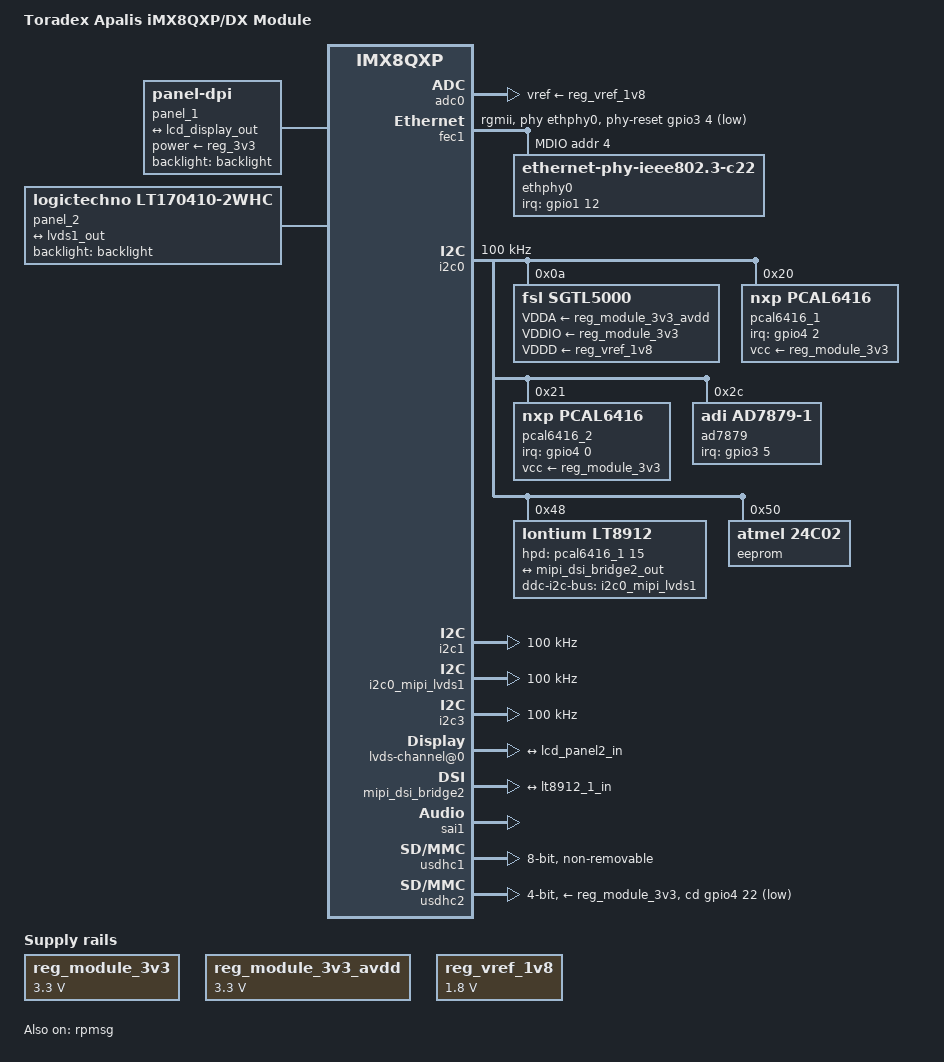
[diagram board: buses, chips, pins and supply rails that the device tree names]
// SPDX-License-Identifier: GPL-2.0+ OR X11
/*
 * Copyright 2018-2019 Toradex
 */

#include <dt-bindings/gpio/gpio.h>
#include "dt-bindings/pwm/pwm.h"
#include "fsl-imx8qxp.dtsi"

/ {
	model = "Toradex Apalis iMX8QXP/DX Module";
	compatible = "toradex,apalis-imx8x", "fsl,imx8qxp";

	backlight: backlight {
		compatible = "pwm-backlight";
		pinctrl-names = "default";
		pinctrl-0 = <&pinctrl_gpio_bkl_on>;
		enable-gpios = <&gpio3 13 GPIO_ACTIVE_HIGH>;
		status = "disabled";
	};

	chosen {
		stdout-path = &lpuart1;
	};

	panel_1: panel-1 {
		/*
		 * edt,et057090dhu: EDT 5.7" LCD TFT
		 * edt,et070080dh6: EDT 7.0" LCD TFT
		 * logictechno,lt161010-2nhc: Cap. Touch Display 7" Parallel
		 * logictechno,lt161010-2nhr: Res. Touch Display 7" Parallel
		 * logictechno,lt170410-2whc: Cap. Touch Display 10.1" LVDS
		 * tpk,f07a-0102: Capacitive Multi-Touch Display Fusion 7"
		 * tpk,f10a-0102: Capacitive Multi-Touch Display Fusion 10"
		 */
		compatible = "panel-dpi";
		backlight = <&backlight>;
		power-supply = <&reg_3v3>;

		width-mm = <217>;
		height-mm = <136>;

		data-mapping = "bgr666";

		panel-timing {
			/* Default VESA VGA display timings */
			clock-frequency = <25175000>;
			hactive = <640>;
			hback-porch = <48>;
			hfront-porch = <16>;
			hsync-len = <96>;
			vactive = <480>;
			vback-porch = <31>;
			vfront-porch = <11>;
			vsync-len = <2>;
			pixelclk-active = <0>;
		};

		port {
			lcd_panel1_in: endpoint {
				remote-endpoint = <&lcd_display_out>;
			};
		};
	};

	panel_2: panel-2 {
		compatible = "logictechno,lt170410-2whc";
		backlight = <&backlight>;

		port {
			lcd_panel2_in: endpoint {
				remote-endpoint = <&lvds1_out>;
			};
		};
	};

	reg_module_3v3: regulator-module-3v3 {
		compatible = "regulator-fixed";
		regulator-name = "+V3.3";
		regulator-min-microvolt = <3300000>;
		regulator-max-microvolt = <3300000>;
	};

	reg_module_3v3_avdd: regulator-module-3v3-avdd {
		compatible = "regulator-fixed";
		regulator-name = "+V3.3_AVDD_AUDIO";
		regulator-min-microvolt = <3300000>;
		regulator-max-microvolt = <3300000>;
	};

	reg_vref_1v8: regulator-vref-1v8 {
		compatible = "regulator-fixed";
		regulator-name = "vref-1v8";
		regulator-min-microvolt = <1800000>;
		regulator-max-microvolt = <1800000>;
	};

	/* TBD SPDIF, HDMI audio */

	sound {
		compatible = "simple-audio-card";
		simple-audio-card,name = "imx8qxp-sgtl5000";
		simple-audio-card,format = "i2s";
		simple-audio-card,bitclock-master = <&dailink_master>;
		simple-audio-card,frame-master = <&dailink_master>;

		simple-audio-card,cpu {
			sound-dai = <&sai1>;
		};

		dailink_master: simple-audio-card,codec {
			sound-dai = <&sgtl5000>;
			clocks = <&clk IMX8QXP_AUD_MCLKOUT0>;
		};
	};
};

/* Apalis AN1_ADC */
&adc0 {
	pinctrl-names = "default";
	pinctrl-0 = <&pinctrl_adc0>;
	vref-supply = <&reg_vref_1v8>;
};

/* Apalis Parallel RGB */
&adma_lcdif {
	pinctrl-names = "default";
	pinctrl-0 = <&pinctrl_lcdif>;
	bus-width = <18>;
	status = "disabled";

	port@0 {
		lcd_display_out: lcdif-endpoint {
			remote-endpoint = <&lcd_panel1_in>;
		};
	};
};

/* Apalis Gigabit Ethernet */
&fec1 {
	pinctrl-names = "default";
	pinctrl-0 = <&pinctrl_fec1>;
	fsl,magic-packet;
	fsl,rgmii_rxc_dly;
	fsl,rgmii_txc_dly;
	phy-handle = <&ethphy0>;
	phy-mode = "rgmii";
	phy-reset-duration = <10>;
	phy-reset-post-delay = <200>;
	phy-reset-gpios = <&gpio3 4 GPIO_ACTIVE_LOW>;

	mdio {
		#address-cells = <1>;
		#size-cells = <0>;

		ethphy0: ethernet-phy@4 {
			compatible = "ethernet-phy-ieee802.3-c22";
			interrupt-parent = <&gpio1>;
			interrupts = <12 IRQ_TYPE_LEVEL_LOW>;
			reg = <4>;
			micrel,led-mode = <0>;
		};
	};
};

/* Apalis CAN1 */
&flexcan1 {
	/* define the following property to disable CAN-FD mode */
	/* disable-fd-mode; */
	pinctrl-names = "default";
	pinctrl-0 = <&pinctrl_flexcan1>;
};

/* Apalis CAN2 */
&flexcan2 {
	/* define the following property to disable CAN-FD mode */
	/* disable-fd-mode; */
	pinctrl-names = "default";
	pinctrl-0 = <&pinctrl_flexcan2>;
};

/* On-module I2C */
&i2c0 {
	#address-cells = <1>;
	#size-cells = <0>;
	pinctrl-names = "default";
	pinctrl-0 = <&pinctrl_lpi2c0>;
	clock-frequency = <100000>;
	status = "okay";

	/* SGTL5000 Audio Codec */
	sgtl5000: codec@a {
		compatible = "fsl,sgtl5000";
		#sound-dai-cells = <0>;
		pinctrl-names = "default";
		pinctrl-0 = <&pinctrl_sgtl5000>;
		reg = <0x0a>;
		clocks = <&clk IMX8QXP_AUD_MCLKOUT0>;
		assigned-clocks = <&clk IMX8QXP_AUD_PLL0_DIV>,
				  <&clk IMX8QXP_AUD_ACM_AUD_PLL_CLK0_DIV>,
				  <&clk IMX8QXP_AUD_ACM_AUD_REC_CLK0_DIV>,
				  <&clk IMX8QXP_AUD_MCLKOUT0>;
		assigned-clock-rates = <786432000>, <49152000>,
					<12000000>, <12000000>;
		power-domains = <&pd_mclk_out0>;
		VDDA-supply = <&reg_module_3v3_avdd>;
		VDDIO-supply = <&reg_module_3v3>;
		VDDD-supply = <&reg_vref_1v8>;
	};

	/* PCAL6416A GPIO Expander */
	pcal6416_1: gpio@20 {
		compatible = "nxp,pcal6416";
		pinctrl-names = "default";
		pinctrl-0 = <&pinctrl_i2c_exp1_int>;
		reg = <0x20>;
		gpio-controller;
		#gpio-cells = <2>;
		interrupt-parent = <&gpio4>;
		interrupts = <2 IRQ_TYPE_LEVEL_LOW>;
		vcc-supply = <&reg_module_3v3>;
	};

	/* PCAL6416A GPIO Expander */
	pcal6416_2: gpio@21 {
		compatible = "nxp,pcal6416";
		pinctrl-names = "default";
		pinctrl-0 = <&pinctrl_i2c_exp2_int>;
		reg = <0x21>;
		gpio-controller;
		#gpio-cells = <2>;
		interrupt-parent = <&gpio4>;
		interrupts = <0 IRQ_TYPE_LEVEL_LOW>;
		vcc-supply = <&reg_module_3v3>;
	};

	/* Touch controller */
	ad7879@2c {
		compatible = "adi,ad7879-1";
		pinctrl-names = "default";
		pinctrl-0 = <&pinctrl_ad7879_int>;
		reg = <0x2c>;
		interrupt-parent = <&gpio3>;
		interrupts = <5 IRQ_TYPE_EDGE_FALLING>;
		touchscreen-max-pressure = <4096>;
		adi,resistance-plate-x = <120>;
		adi,first-conversion-delay = /bits/ 8 <3>;
		adi,acquisition-time = /bits/ 8 <1>;
		adi,median-filter-size = /bits/ 8 <2>;
		adi,averaging = /bits/ 8 <1>;
		adi,conversion-interval = /bits/ 8 <255>;
	};

	/* LT8912B DSI to HDMI converter */
	lt8912@48 {
		compatible = "lontium,lt8912";
		ddc-i2c-bus = <&i2c0_mipi_lvds1>;
		hpd-gpios = <&pcal6416_1 15 GPIO_ACTIVE_HIGH>;
		reg = <0x48>;

		port {
			lt8912_1_in: endpoint {
				remote-endpoint = <&mipi_dsi_bridge2_out>;
			};
		};
	};

	/* On-Module EEPROM */
	eeprom: eeprom@50 {
		compatible = "atmel,24c02";
		reg = <0x50>;
		pagesize = <16>;
	};
};

/* Apalis I2C1 */
&i2c1 {
	#address-cells = <1>;
	#size-cells = <0>;
	pinctrl-names = "default";
	pinctrl-0 = <&pinctrl_lpi2c1>;
	clock-frequency = <100000>;

	/* Atmel maxtouch controller */
	atmel_mxt_ts: atmel_mxt_ts@4a {
		compatible = "atmel,maxtouch";
		pinctrl-names = "default";
		pinctrl-0 = <&pinctrl_touch>;
		reg = <0x4a>;
		interrupt-parent = <&gpio3>;
		interrupts = <17 IRQ_TYPE_EDGE_FALLING>;    /* Apalis GPIO5 */
		reset-gpios = <&gpio3 18 GPIO_ACTIVE_HIGH>; /* Apalis GPIO6 */
                status = "disabled";
        };
};

/* Apalis I2C2 (DDC) */
&i2c0_mipi_lvds1 {
	#address-cells = <1>;
	#size-cells = <0>;
	pinctrl-names = "default";
	pinctrl-0 = <&pinctrl_i2c0_mipi_lvds1>;
	clock-frequency = <100000>;
};

/* Apalis I2C3 (CAM) */
&i2c3 {
	#address-cells = <1>;
	#size-cells = <0>;
	pinctrl-names = "default";
	pinctrl-0 = <&pinctrl_lpi2c3>;
	clock-frequency = <100000>;
};

&iomuxc {
	pinctrl-names = "default";
	pinctrl-0 = <&pinctrl_gpio34>, <&pinctrl_gpio7>, <&pinctrl_usbo1oc>,
		    <&pinctrl_gpio8>, <&pinctrl_qspi0a_gpios>,
		    <&pinctrl_sata1_act>, <&pinctrl_reset_moci>,
		    <&pinctrl_mmc1_gpios>, <&pinctrl_dap1_gpios>,
		    <&pinctrl_parallel_csi>;

	apalis-imx8qxp {
		/* Apalis AN1_ADC */
		pinctrl_adc0: adc0grp {
			fsl,pins = <
				/* Apalis AN1_ADC0 */
				SC_P_ADC_IN0_ADMA_ADC_IN0			0x60		/* MXM3 305 */
				/* Apalis AN1_ADC1 */
				SC_P_ADC_IN1_ADMA_ADC_IN1			0x60		/* MXM3 307 */
				/* Apalis AN1_ADC2 */
				SC_P_ADC_IN2_ADMA_ADC_IN2			0x60		/* MXM3 309 */
				/* Apalis AN1_TSWIP_ADC3 */
				SC_P_ADC_IN3_ADMA_ADC_IN3			0x60		/* MXM3 311 */
			>;
		};

		/* Apalis BKL1_ON */
		pinctrl_gpio_bkl_on: gpio-bkl-on {
			fsl,pins = <
				SC_P_QSPI0A_DQS_LSIO_GPIO3_IO13			0x21		/* MXM3 286 */
			>;
		};

		/* Apalis BKL1_PWM */
		pinctrl_pwm_mipi_lvds1: pwmmipilvds1grp {
			fsl,pins = <
				SC_P_MIPI_DSI1_GPIO0_00_MIPI_DSI1_PWM0_OUT	0x60		/* MXM3 239 */
			>;
		};

		/* Apalis CAN1 */
		pinctrl_flexcan1: flexcan0grp {
			fsl,pins = <
				SC_P_FLEXCAN1_TX_ADMA_FLEXCAN1_TX		0x21		/* MXM3 14 */
				SC_P_FLEXCAN1_RX_ADMA_FLEXCAN1_RX		0x21		/* MXM3 12 */
			>;
		};

		/* Apalis CAN2 */
		pinctrl_flexcan2: flexcan1grp {
			fsl,pins = <
				SC_P_FLEXCAN2_TX_ADMA_FLEXCAN2_TX		0x21		/* MXM3 18 */
				SC_P_FLEXCAN2_RX_ADMA_FLEXCAN2_RX		0x21		/* MXM3 16 */
			>;
		};

		/* Apalis DAP1 */
		pinctrl_dap1_gpios: dap1gpiosgrp {
			fsl,pins = <
				/* Apalis DAP1_D_OUT */
				SC_P_SAI0_TXD_LSIO_GPIO0_IO25			0x21		/* MXM3 196 */
				/* Apalis DAP1_RESET */
				SC_P_QSPI0A_SS1_B_LSIO_GPIO3_IO15		0x21		/* MXM3 198 */
				/* Apalis DAP1_BIT_CLK */
				SC_P_SAI0_TXC_LSIO_GPIO0_IO26			0x21		/* MXM3 200 */
				/* Apalis DAP1_D_IN */
				SC_P_SAI0_RXD_LSIO_GPIO0_IO27			0x21		/* MXM3 202 */
				/* Apalis DAP1_SYNC */
				SC_P_SAI0_TXFS_LSIO_GPIO0_IO28			0x21		/* MXM3 204 */
			>;
		};

		/* Apalis GPIO1+2 */
		pinctrl_gpio12: gpio12grp {
			fsl,pins = <
				/* Apalis GPIO 1 */
				SC_P_QSPI0B_DATA3_LSIO_GPIO3_IO21		0x21		/* MXM3 1 */
				/* Apalis GPIO 2 */
				SC_P_QSPI0B_DQS_LSIO_GPIO3_IO22			0x21		/* MXM3 3 */
			>;
		};

		/* Apalis GPIO3+4 */
		pinctrl_gpio34: gpio34grp {
			fsl,pins = <
				/* Apalis GPIO 3 */
				SC_P_QSPI0B_SS0_B_LSIO_GPIO3_IO23		0x21		/* MXM3 5 */
				/* Apalis GPIO 4 */
				SC_P_QSPI0B_SS1_B_LSIO_GPIO3_IO24		0x21		/* MXM3 7 */
			>;
		};

		/* Apalis GPIO5+6 */
		pinctrl_touch: touchgrp {
			fsl,pins = <
				/* Apalis GPIO 5 */
				SC_P_QSPI0B_SCLK_LSIO_GPIO3_IO17		0x21		/* MXM3 11 */
				/* Apalis GPIO 6 */
				SC_P_QSPI0B_DATA0_LSIO_GPIO3_IO18		0x21		/* MXM3 13 */
			>;
		};

		/* Apalis GPIO7 */
		pinctrl_gpio7: gpio7 {
			fsl,pins = <
				/* Apalis GPIO 7 */
				SC_P_QSPI0B_DATA1_LSIO_GPIO3_IO19		0x21		/* MXM3 15 */
			>;
		};

		/* Apalis GPIO8 */
		pinctrl_gpio8: gpio8 {
			fsl,pins = <
				/* Apalis GPIO 8 */
				SC_P_QSPI0B_DATA2_LSIO_GPIO3_IO20		0x21		/* MXM3 17 */
			>;
		};

		/* Apalis I2C1 */
		pinctrl_lpi2c1: lpi2c1grp {
			fsl,pins = <
				SC_P_USB_SS3_TC0_ADMA_I2C1_SCL			0x06000021	/* MXM3 211 */
				SC_P_USB_SS3_TC3_ADMA_I2C1_SDA			0x06000021	/* MXM3 209 */
			>;
		};

		/* Apalis I2C2 (DDC) */
		pinctrl_i2c0_mipi_lvds1: mipilvds1i2c0grp {
			fsl,pins = <
				SC_P_MIPI_DSI1_I2C0_SCL_MIPI_DSI1_I2C0_SCL	0xc6000020	/* MXM3 205 */
				SC_P_MIPI_DSI1_I2C0_SDA_MIPI_DSI1_I2C0_SDA	0xc6000020	/* MXM3 207 */
			>;
		};

		/* Apalis I2C3 (CAM) */
		pinctrl_lpi2c3: lpi2c3grp {
			fsl,pins = <
				SC_P_CSI_EN_ADMA_I2C3_SCL			0xc6000020	/* MXM3 203 */
				SC_P_CSI_RESET_ADMA_I2C3_SDA			0xc6000020	/* MXM3 201 */
			>;
		};

		/* Apalis MMC1_ */
		pinctrl_mmc1_gpios: mmc1gpiosgrp {
			fsl,pins = <
				SC_P_QSPI0A_DATA1_LSIO_GPIO3_IO10		0x21		/* MXM3 148 */
				SC_P_QSPI0A_SS0_B_LSIO_GPIO3_IO14		0x21		/* MXM3 158 */
				SC_P_USDHC1_WP_LSIO_GPIO4_IO21			0x21		/* MXM3 156 */
				SC_P_USDHC1_RESET_B_LSIO_GPIO4_IO19		0x21		/* MXM3 152 */
			>;
		};

		/* Apalis MMC1_CD# */
		pinctrl_usdhc2_gpio: mmc1gpiogrp {
			fsl,pins = <
				SC_P_USDHC1_CD_B_LSIO_GPIO4_IO22		0x06000021	/* MXM3 164 */
			>;
		};

		pinctrl_usdhc2_gpio_sleep: usdhc1gpioslpgrp {
			fsl,pins = <
				SC_P_USDHC1_CD_B_LSIO_GPIO4_IO22		0x60		/* MXM3 164 */
			>;
		};

		/* Apalis MMC1 */
		pinctrl_usdhc2: usdhc2grp {
			fsl,pins = <
				SC_P_USDHC1_CLK_CONN_USDHC1_CLK			0x06000041	/* MXM3 154 */
				SC_P_USDHC1_CMD_CONN_USDHC1_CMD			0x21		/* MXM3 150 */
				SC_P_USDHC1_DATA0_CONN_USDHC1_DATA0		0x21		/* MXM3 160 */
				SC_P_USDHC1_DATA1_CONN_USDHC1_DATA1		0x21		/* MXM3 162 */
				SC_P_USDHC1_DATA2_CONN_USDHC1_DATA2		0x21		/* MXM3 144 */
				SC_P_USDHC1_DATA3_CONN_USDHC1_DATA3		0x21		/* MXM3 146 */
				SC_P_USDHC1_VSELECT_CONN_USDHC1_VSELECT		0x21
			>;
		};

		pinctrl_usdhc2_100mhz: usdhc2grp100mhz {
			fsl,pins = <
				SC_P_USDHC1_CLK_CONN_USDHC1_CLK			0x06000041	/* MXM3 154 */
				SC_P_USDHC1_CMD_CONN_USDHC1_CMD			0x21		/* MXM3 150 */
				SC_P_USDHC1_DATA0_CONN_USDHC1_DATA0		0x21		/* MXM3 160 */
				SC_P_USDHC1_DATA1_CONN_USDHC1_DATA1		0x21		/* MXM3 162 */
				SC_P_USDHC1_DATA2_CONN_USDHC1_DATA2		0x21		/* MXM3 144 */
				SC_P_USDHC1_DATA3_CONN_USDHC1_DATA3		0x21		/* MXM3 146 */
				SC_P_USDHC1_VSELECT_CONN_USDHC1_VSELECT		0x21
			>;
		};

		pinctrl_usdhc2_200mhz: usdhc2grp200mhz {
			fsl,pins = <
				SC_P_USDHC1_CLK_CONN_USDHC1_CLK			0x06000041	/* MXM3 154 */
				SC_P_USDHC1_CMD_CONN_USDHC1_CMD			0x21		/* MXM3 150 */
				SC_P_USDHC1_DATA0_CONN_USDHC1_DATA0		0x21		/* MXM3 160 */
				SC_P_USDHC1_DATA1_CONN_USDHC1_DATA1		0x21		/* MXM3 162 */
				SC_P_USDHC1_DATA2_CONN_USDHC1_DATA2		0x21		/* MXM3 144 */
				SC_P_USDHC1_DATA3_CONN_USDHC1_DATA3		0x21		/* MXM3 146 */
				SC_P_USDHC1_VSELECT_CONN_USDHC1_VSELECT		0x21
			>;
		};

		pinctrl_usdhc2_sleep: usdhc2slpgrp {
			fsl,pins = <
				SC_P_USDHC1_CLK_LSIO_GPIO4_IO23			0x60		/* MXM3 154 */
				SC_P_USDHC1_CMD_LSIO_GPIO4_IO24			0x60		/* MXM3 150 */
				SC_P_USDHC1_DATA0_LSIO_GPIO4_IO25		0x60		/* MXM3 160 */
				SC_P_USDHC1_DATA1_LSIO_GPIO4_IO26		0x60		/* MXM3 162 */
				SC_P_USDHC1_DATA2_LSIO_GPIO4_IO27		0x60		/* MXM3 144 */
				SC_P_USDHC1_DATA3_LSIO_GPIO4_IO28		0x60		/* MXM3 146 */
				SC_P_USDHC1_VSELECT_CONN_USDHC1_VSELECT		0x21
			>;
		};

		/* Apalis Parallel Camera */
		pinctrl_parallel_csi: parallelcsigrp {
			fsl,pins = <
				SC_P_CSI_D00_CI_PI_D02				0xC0000041	/* MXM3 187 */
				SC_P_CSI_D01_CI_PI_D03				0xC0000041	/* MXM3 185 */
				SC_P_CSI_D02_CI_PI_D04				0xC0000041	/* MXM3 183 */
				SC_P_CSI_D03_CI_PI_D05				0xC0000041	/* MXM3 181 */
				SC_P_CSI_D04_CI_PI_D06				0xC0000041	/* MXM3 179 */
				SC_P_CSI_D05_CI_PI_D07				0xC0000041	/* MXM3 177 */
				SC_P_CSI_D06_CI_PI_D08				0xC0000041	/* MXM3 175 */
				SC_P_CSI_D07_CI_PI_D09				0xC0000041	/* MXM3 173 */
				SC_P_CSI_MCLK_CI_PI_MCLK			0xC0000041	/* MXM3 193 */
				SC_P_CSI_PCLK_CI_PI_PCLK			0xC0000041	/* MXM3 191 */
				SC_P_CSI_HSYNC_CI_PI_HSYNC			0xC0000041	/* MXM3 197 */
				SC_P_CSI_VSYNC_CI_PI_VSYNC			0xC0000041	/* MXM3 195 */
			>;
		};

		/* Apalis Parallel RGB LCD Interface */
		pinctrl_hog0: hog0grp {
			fsl,pins = <
				SC_P_COMP_CTL_GPIO_1V8_3V3_GPIORHB_PAD		0x000514a0 /* Use pads in 3.3V mode */
			>;
		};

		pinctrl_lcdif: lcdif-pins {
			fsl,pins = <
				SC_P_MCLK_OUT0_ADMA_LCDIF_CLK			0x60		/* MXM3 243 */
				SC_P_MCLK_IN0_ADMA_LCDIF_VSYNC			0x60		/* MXM3 245 */
				SC_P_SPI3_CS0_ADMA_LCDIF_HSYNC			0x60		/* MXM3 247 */
				SC_P_MCLK_IN1_ADMA_LCDIF_EN			0x60		/* MXM3 249 */
				SC_P_SPDIF0_EXT_CLK_ADMA_LCDIF_D12		0x60		/* MXM3 255 */
				SC_P_SPI3_SCK_ADMA_LCDIF_D13			0x60		/* MXM3 257 */
				SC_P_SPI3_SDO_ADMA_LCDIF_D14			0x60		/* MXM3 259 */
				SC_P_SPI3_SDI_ADMA_LCDIF_D15			0x60		/* MXM3 261 */
				SC_P_SPI3_CS1_ADMA_LCDIF_D16			0x60		/* MXM3 263 */
				SC_P_UART1_CTS_B_ADMA_LCDIF_D17			0x60		/* MXM3 265 */
				SC_P_ESAI0_TX2_RX3_ADMA_LCDIF_D06		0x60		/* MXM3 273 */
				SC_P_ESAI0_TX3_RX2_ADMA_LCDIF_D07		0x60		/* MXM3 275 */
				SC_P_ESAI0_TX4_RX1_ADMA_LCDIF_D08		0x60		/* MXM3 277 */
				SC_P_ESAI0_TX5_RX0_ADMA_LCDIF_D09		0x60		/* MXM3 279 */
				SC_P_SPDIF0_RX_ADMA_LCDIF_D10			0x60		/* MXM3 281 */
				SC_P_SPDIF0_TX_ADMA_LCDIF_D11			0x60		/* MXM3 283 */
				SC_P_ESAI0_FSR_ADMA_LCDIF_D00			0x60		/* MXM3 291 */
				SC_P_ESAI0_FST_ADMA_LCDIF_D01			0x60		/* MXM3 293 */
				SC_P_ESAI0_SCKR_ADMA_LCDIF_D02			0x60		/* MXM3 295 */
				SC_P_ESAI0_SCKT_ADMA_LCDIF_D03			0x60		/* MXM3 297 */
				SC_P_ESAI0_TX0_ADMA_LCDIF_D04			0x60		/* MXM3 299 */
				SC_P_ESAI0_TX1_ADMA_LCDIF_D05			0x60		/* MXM3 301 */
			>;
		};

		/* Apalis PWM1 */
		pinctrl_pwm2: pwm2grp {
			fsl,pins = <
				SC_P_UART1_RTS_B_LSIO_PWM2_OUT			0x60		/* MXM3 2 */
			>;
		};

		/* Apalis PWM2 */
		pinctrl_pwm_mipi_lvds0: pwmmipilvds0grp {
			fsl,pins = <
				SC_P_MIPI_DSI0_GPIO0_00_MIPI_DSI0_PWM0_OUT	0x60		/* MXM3 4 */
			>;
		};

		/* Apalis PWM_ */
		pinctrl_pwm_gpios: gpiospwmgrp {
			fsl,pins = <
				SC_P_MIPI_DSI0_GPIO0_01_LSIO_GPIO1_IO28		0x21		/* MXM3 6 */
				SC_P_MIPI_DSI1_GPIO0_01_LSIO_GPIO2_IO00		0x21		/* MXM3 8 */
			>;
		};

		/* Apalis SATA1_ACT# */
		pinctrl_sata1_act: sata1actgrp {
			fsl,pins = <
				SC_P_MIPI_DSI0_I2C0_SCL_LSIO_GPIO1_IO25		0x21		/* MXM3 35 */
			>;
		};

		/* Apalis SPI1 */
		pinctrl_lpspi0: lpspi0grp {
			fsl,pins = <
				SC_P_SPI0_CS0_LSIO_GPIO1_IO08			0x06000040	/* MXM3 227 */
				SC_P_SPI0_SDI_ADMA_SPI0_SDI			0x06000040	/* MXM3 223 */
				SC_P_SPI0_SDO_ADMA_SPI0_SDO			0x06000040	/* MXM3 225 */
				SC_P_SPI0_SCK_ADMA_SPI0_SCK			0x06000040	/* MXM3 221 */
			>;
		};

		/* Apalis SPI2 */
		pinctrl_lpspi2: lpspi2grp {
			fsl,pins = <
				SC_P_SPI2_CS0_LSIO_GPIO1_IO00			0x21		/* MXM3 233 */
				SC_P_SPI2_SDI_ADMA_SPI2_SDI			0x06000040	/* MXM3 229 */
				SC_P_SPI2_SDO_ADMA_SPI2_SDO			0x06000040	/* MXM3 231 */
				SC_P_SPI2_SCK_ADMA_SPI2_SCK			0x06000040	/* MXM3 235 */
			>;
		};

		/* Apalis UART1 */
		pinctrl_lpuart1: lpuart1grp {
			fsl,pins = <
				SC_P_UART1_RX_ADMA_UART1_RX			0x06000020	/* MXM3 118 */
				SC_P_UART1_TX_ADMA_UART1_TX			0x06000020	/* MXM3 112 */
			>;
		};

		/* Apalis UART1_ */
		pinctrl_qspi0a_gpios: qspi0agpiosgrp {
			fsl,pins = <
				SC_P_QSPI0A_DATA2_LSIO_GPIO3_IO11		0x21		/* MXM3 114 */
				SC_P_QSPI0A_DATA3_LSIO_GPIO3_IO12		0x21		/* MXM3 116 */
			>;
		};

		/* Apalis UART2 */
		pinctrl_lpuart0: lpuart0grp {
			fsl,pins = <
				SC_P_UART0_TX_ADMA_UART0_TX			0x06000020	/* MXM3 126 */
				SC_P_UART0_RX_ADMA_UART0_RX			0x06000020	/* MXM3 132 */
				SC_P_FLEXCAN0_RX_ADMA_UART0_RTS_B		0x06000020	/* MXM3 128 */
				SC_P_FLEXCAN0_TX_ADMA_UART0_CTS_B		0x06000020	/* MXM3 130 */
			>;
		};

		/* Apalis UART3 */
		pinctrl_lpuart2: lpuart2grp {
			fsl,pins = <
				SC_P_UART2_TX_ADMA_UART2_TX			0x06000020	/* MXM3 134 */
				SC_P_UART2_RX_ADMA_UART2_RX			0x06000020	/* MXM3 136 */
			>;
		};

		/* Apalis UART4 */
		pinctrl_lpuart3: lpuart3grp {
			fsl,pins = <
				SC_P_SCU_GPIO0_01_ADMA_UART3_TX			0x06000020	/* MXM3 138 */
				SC_P_SCU_GPIO0_00_ADMA_UART3_RX			0x06000020	/* MXM3 140 */
			>;
		};

		/* Apalis USBH_EN */
		pinctrl_usbh_en: usbhen {
			fsl,pins = <
				SC_P_USB_SS3_TC1_LSIO_GPIO4_IO04		0x21		/* MXM3 84 */
			>;
		};

		/* Apalis USBH_OC# */
		pinctrl_gpio_usbh_oc_n: gpiousbhocn {
			fsl,pins = <
				SC_P_QSPI0A_DATA0_LSIO_GPIO3_IO09		0x04000020	/* MXM3 96 */
			>;
		};

		/* Apalis USBO1_EN */
		pinctrl_usbo1_en: usbo1en {
			fsl,pins = <
				/* Apalis USBO1_EN */
				SC_P_QSPI0A_SCLK_LSIO_GPIO3_IO16		0x21		/* MXM3 274 */
			>;
		};

		/* Apalis USBO1 */
		pinctrl_usbo1oc: usbo1oc {
			fsl,pins = <
				/* Apalis USBO1_OC# */
				SC_P_USB_SS3_TC2_LSIO_GPIO4_IO05		0x04000020	/* MXM3 262 */
			>;
		};

		/* Apalis WAKE1_MICO */
		pinctrl_gpio_keys: gpio-keys {
			fsl,pins = <
				SC_P_MIPI_DSI0_I2C0_SDA_MIPI_DSI1_GPIO0_IO03	0x06700021	/* MXM3 37 */
			>;
		};

		/* On-module Gigabit Ethernet PHY Micrel KSZ9031 */
		pinctrl_fec1: fec1grp {
			fsl,pins = <
				SC_P_COMP_CTL_GPIO_1V8_3V3_ENET_ENETB0_PAD	0x14a0 /* Use pads in 3.3V mode */
				SC_P_COMP_CTL_GPIO_1V8_3V3_ENET_ENETB1_PAD	0x14a0 /* Use pads in 3.3V mode */
				SC_P_ENET0_MDC_CONN_ENET0_MDC			0x06000020
				SC_P_ENET0_MDIO_CONN_ENET0_MDIO			0x06000020
				SC_P_ENET0_RGMII_TX_CTL_CONN_ENET0_RGMII_TX_CTL	0x61
				SC_P_ENET0_RGMII_TXC_CONN_ENET0_RGMII_TXC	0x61
				SC_P_ENET0_RGMII_TXD0_CONN_ENET0_RGMII_TXD0	0x61
				SC_P_ENET0_RGMII_TXD1_CONN_ENET0_RGMII_TXD1	0x61
				SC_P_ENET0_RGMII_TXD2_CONN_ENET0_RGMII_TXD2	0x61
				SC_P_ENET0_RGMII_TXD3_CONN_ENET0_RGMII_TXD3	0x61
				SC_P_ENET0_RGMII_RXC_CONN_ENET0_RGMII_RXC	0x61
				SC_P_ENET0_RGMII_RX_CTL_CONN_ENET0_RGMII_RX_CTL	0x61
				SC_P_ENET0_RGMII_RXD0_CONN_ENET0_RGMII_RXD0	0x61
				SC_P_ENET0_RGMII_RXD1_CONN_ENET0_RGMII_RXD1	0x61
				SC_P_ENET0_RGMII_RXD2_CONN_ENET0_RGMII_RXD2	0x61
				SC_P_ENET0_RGMII_RXD3_CONN_ENET0_RGMII_RXD3	0x61
				/* On-module ETH_RESET# */
				SC_P_MIPI_CSI0_MCLK_OUT_LSIO_GPIO3_IO04		0x21
				/* On-module ETH_INT# */
				SC_P_ADC_IN2_LSIO_GPIO1_IO12			0x21
			>;
		};

		/* On-module GPIO expanders */
		pinctrl_i2c_exp1_int: i2cexp1int {
			fsl,pins = <
				SC_P_PCIE_CTRL0_WAKE_B_LSIO_GPIO4_IO02		0x21
			>;
		};

		pinctrl_i2c_exp2_int: i2cexp2int {
			fsl,pins = <
				SC_P_PCIE_CTRL0_PERST_B_LSIO_GPIO4_IO00		0x21
			>;
		};

		/* On-module eMMC */
		pinctrl_usdhc1: usdhc1grp {
			fsl,pins = <
				SC_P_EMMC0_CLK_CONN_EMMC0_CLK			0x06000041
				SC_P_EMMC0_CMD_CONN_EMMC0_CMD			0x21
				SC_P_EMMC0_DATA0_CONN_EMMC0_DATA0		0x21
				SC_P_EMMC0_DATA1_CONN_EMMC0_DATA1		0x21
				SC_P_EMMC0_DATA2_CONN_EMMC0_DATA2		0x21
				SC_P_EMMC0_DATA3_CONN_EMMC0_DATA3		0x21
				SC_P_EMMC0_DATA4_CONN_EMMC0_DATA4		0x21
				SC_P_EMMC0_DATA5_CONN_EMMC0_DATA5		0x21
				SC_P_EMMC0_DATA6_CONN_EMMC0_DATA6		0x21
				SC_P_EMMC0_DATA7_CONN_EMMC0_DATA7		0x21
				SC_P_EMMC0_STROBE_CONN_EMMC0_STROBE		0x41
				SC_P_EMMC0_RESET_B_CONN_EMMC0_RESET_B		0x21
			>;
		};

		pinctrl_usdhc1_100mhz: usdhc1grp100mhz {
			fsl,pins = <
				SC_P_EMMC0_CLK_CONN_EMMC0_CLK			0x06000041
				SC_P_EMMC0_CMD_CONN_EMMC0_CMD			0x21
				SC_P_EMMC0_DATA0_CONN_EMMC0_DATA0		0x21
				SC_P_EMMC0_DATA1_CONN_EMMC0_DATA1		0x21
				SC_P_EMMC0_DATA2_CONN_EMMC0_DATA2		0x21
				SC_P_EMMC0_DATA3_CONN_EMMC0_DATA3		0x21
				SC_P_EMMC0_DATA4_CONN_EMMC0_DATA4		0x21
				SC_P_EMMC0_DATA5_CONN_EMMC0_DATA5		0x21
				SC_P_EMMC0_DATA6_CONN_EMMC0_DATA6		0x21
				SC_P_EMMC0_DATA7_CONN_EMMC0_DATA7		0x21
				SC_P_EMMC0_STROBE_CONN_EMMC0_STROBE		0x41
				SC_P_EMMC0_RESET_B_CONN_EMMC0_RESET_B		0x21
			>;
		};

		pinctrl_usdhc1_200mhz: usdhc1grp200mhz {
			fsl,pins = <
				SC_P_EMMC0_CLK_CONN_EMMC0_CLK			0x06000041
				SC_P_EMMC0_CMD_CONN_EMMC0_CMD			0x21
				SC_P_EMMC0_DATA0_CONN_EMMC0_DATA0		0x21
				SC_P_EMMC0_DATA1_CONN_EMMC0_DATA1		0x21
				SC_P_EMMC0_DATA2_CONN_EMMC0_DATA2		0x21
				SC_P_EMMC0_DATA3_CONN_EMMC0_DATA3		0x21
				SC_P_EMMC0_DATA4_CONN_EMMC0_DATA4		0x21
				SC_P_EMMC0_DATA5_CONN_EMMC0_DATA5		0x21
				SC_P_EMMC0_DATA6_CONN_EMMC0_DATA6		0x21
				SC_P_EMMC0_DATA7_CONN_EMMC0_DATA7		0x21
				SC_P_EMMC0_STROBE_CONN_EMMC0_STROBE		0x41
				SC_P_EMMC0_RESET_B_CONN_EMMC0_RESET_B		0x21
			>;
		};

		/* On-module I2C */
		pinctrl_lpi2c0: i2c0csi0grp {
			fsl,pins = <
				SC_P_MIPI_CSI0_GPIO0_00_ADMA_I2C0_SCL 		0xc6000020	/* MXM3 140 */
				SC_P_MIPI_CSI0_GPIO0_01_ADMA_I2C0_SDA 		0xc6000020	/* MXM3 142 */
			>;
		};

		/* On-module I2S SGTL5000 for Apalis Analogue Audio */
		pinctrl_sai1: sai1grp {
			fsl,pins = <
				SC_P_SAI1_RXD_ADMA_SAI1_RXD			0x06000040
				SC_P_SPI0_CS1_ADMA_SAI1_TXD			0x06000040
				SC_P_SAI1_RXC_ADMA_SAI1_TXC			0x06000040
				SC_P_SAI1_RXFS_ADMA_SAI1_TXFS			0x06000040
			>;
		};

		/* On-module I2S SGTL5000 SYS_MCLK */
		pinctrl_sgtl5000: sgtl5000grp {
			fsl,pins = <
				SC_P_ADC_IN3_ADMA_ACM_MCLK_OUT0			0x21
			>;
		};

		/* On-module RESET_MOCI#_DRV */
		pinctrl_reset_moci: gpioresetmocigrp {
			fsl,pins = <
				SC_P_PCIE_CTRL0_CLKREQ_B_LSIO_GPIO4_IO01	0x21
			>;
		};

		/* On-module touch pen-down interrupt */
		pinctrl_ad7879_int: ad7879-int {
			fsl,pins = <
				SC_P_MIPI_CSI0_I2C0_SCL_LSIO_GPIO3_IO05		0x21
			>;
		};
	};
};

&ldb1 {
	lvds-channel@0 {
		status = "okay";

		port@1 {
			reg = <1>;

			lvds1_out: endpoint {
				remote-endpoint = <&lcd_panel2_in>;
			};
		};
	};
};

/* Apalis SPI1 */
&lpspi0 {
	#address-cells = <1>;
	#size-cells = <0>;
	fsl,spi-num-chipselects = <1>;
	pinctrl-names = "default";
	pinctrl-0 = <&pinctrl_lpspi0>;
	cs-gpios = <&gpio1 8 GPIO_ACTIVE_LOW>;
/* Todo: measure with oscilloscope if cs-gpios or hardware gpio is better */
};

/* Apalis SPI2 */
&lpspi2 {
	#address-cells = <1>;
	#size-cells = <0>;
	fsl,spi-num-chipselects = <1>;
	pinctrl-names = "default";
	pinctrl-0 = <&pinctrl_lpspi2>;
	cs-gpios = <&gpio1 0 GPIO_ACTIVE_LOW>;
/* Todo: measure with oscilloscope if cs-gpios or hardware gpio is better */
};

/* Apalis UART1 */
&lpuart1 {
	pinctrl-names = "default";
	pinctrl-0 = <&pinctrl_lpuart1>;
};

/* Apalis UART2 */
&lpuart0 {
	pinctrl-names = "default";
	pinctrl-0 = <&pinctrl_lpuart0>;
};

/* Apalis UART3 */
&lpuart2 {
	pinctrl-names = "default";
	pinctrl-0 = <&pinctrl_lpuart2>;
};

/* Apalis UART4 */
&lpuart3 {
	pinctrl-names = "default";
	pinctrl-0 = <&pinctrl_lpuart3>;
};

&mipi_csi_0 {
	#address-cells = <1>;
	#size-cells = <0>;
	/delete-property/virtual-channel;
};

&mipi_dsi1 {
	pwr-delay = <10>;
};

&mipi_dsi2 {
	pwr-delay = <10>;
};

&mipi_dsi_bridge2 {
	port@1 {
		mipi_dsi_bridge2_out: endpoint {
			remote-endpoint = <&lt8912_1_in>;
		};
	};
};

/* Apalis PCIE1 */
#if 0 /* Todo */
&pcieb {
	ext_osc = <0>;
	hard-wired = <0>;
	status = "okay";
};
#endif

/* Apalis BKL1_PWM */
&pwm_mipi_lvds1 {
	pinctrl-names = "default";
	pinctrl-0 = <&pinctrl_pwm_mipi_lvds1>;
	#pwm-cells = <3>;
};

/* Apalis PWM1 */
&pwm2 {
	pinctrl-names = "default";
	pinctrl-0 = <&pinctrl_pwm2>;
	#pwm-cells = <3>;
};

/* Apalis PWM2 */
&pwm_mipi_lvds0 {
	pinctrl-names = "default";
	pinctrl-0 = <&pinctrl_pwm_mipi_lvds0>;
	#pwm-cells = <3>;
};

&rpmsg{
	/*
	 * 64K for one rpmsg instance:
	 */
	vdev-nums = <2>;
	reg = <0x0 0x90000000 0x0 0x20000>;
	status = "okay";
};

/* On-module I2S */
&sai1 {
	#sound-dai-cells = <0>;
	pinctrl-names = "default";
	pinctrl-0 = <&pinctrl_sai1>;
	status = "okay";
};

&tsens {
	tsens-num = <3>;
};

&thermal_zones {
	pmic-thermal0 {
		polling-delay-passive = <250>;
		polling-delay = <2000>;
		thermal-sensors = <&tsens 2>;

		trips {
			pmic_alert0: trip0 {
				temperature = <80000>;
				hysteresis = <2000>;
				type = "passive";
			};

			pmic_crit0: trip1 {
				temperature = <125000>;
				hysteresis = <2000>;
				type = "critical";
			};
		};

		cooling-maps {
			map0 {
				trip = <&pmic_alert0>;
				cooling-device =
				<&A35_0 THERMAL_NO_LIMIT THERMAL_NO_LIMIT>;
			};
		};
	};
};

/* On-module eMMC */
&usdhc1 {
	bus-width = <8>;
	non-removable;
	pinctrl-names = "default", "state_100mhz", "state_200mhz";
	pinctrl-0 = <&pinctrl_usdhc1>;
	pinctrl-1 = <&pinctrl_usdhc1_100mhz>;
	pinctrl-2 = <&pinctrl_usdhc1_200mhz>;
	status = "okay";
};

/* Apalis MMC1 */
&usdhc2 {
	bus-width = <4>;
	cd-gpios = <&gpio4 22 GPIO_ACTIVE_LOW>;
	/*
	 * The PMIC on V1.0A HW generates 1.6V instead of 1.8V which creates
	 * issues with certain SD cards, disable 1.8V signaling for now.
	 */
	no-1-8-v;
	pinctrl-names = "default", "state_100mhz", "state_200mhz", "sleep";
	pinctrl-0 = <&pinctrl_usdhc2>, <&pinctrl_usdhc2_gpio>;
	pinctrl-1 = <&pinctrl_usdhc2_100mhz>, <&pinctrl_usdhc2_gpio>;
	pinctrl-2 = <&pinctrl_usdhc2_200mhz>, <&pinctrl_usdhc2_gpio>;
	pinctrl-3 = <&pinctrl_usdhc2_sleep>, <&pinctrl_usdhc2_gpio_sleep>;
	vmmc-supply = <&reg_module_3v3>;
};

&vpu_decoder {
	core_type = <1>;
};

&vpu_encoder {
	core_type = <1>;
};
